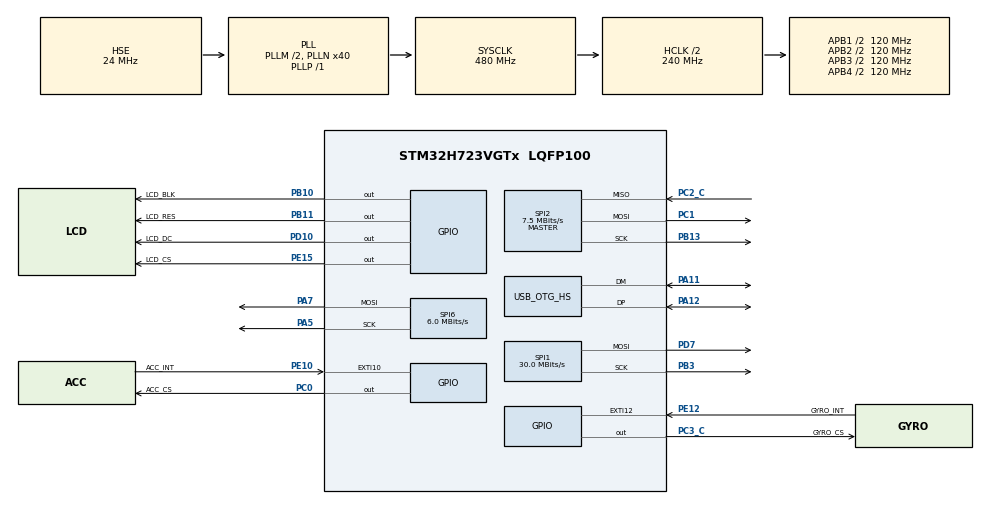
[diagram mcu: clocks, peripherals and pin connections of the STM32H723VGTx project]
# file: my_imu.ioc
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Dma.Request0=SPI2_RX
Dma.Request1=SPI2_TX
Dma.SPI2_RX.0.Direction=DMA_PERIPH_TO_MEMORY
Dma.SPI2_RX.0.EventEnable=DISABLE
Dma.SPI2_RX.0.FIFOMode=DMA_FIFOMODE_DISABLE
Dma.SPI2_RX.0.Instance=DMA1_Stream0
Dma.SPI2_RX.0.MemDataAlignment=DMA_MDATAALIGN_BYTE
Dma.SPI2_RX.0.MemInc=DMA_MINC_ENABLE
Dma.SPI2_RX.0.Mode=DMA_NORMAL
Dma.SPI2_RX.0.PeriphDataAlignment=DMA_PDATAALIGN_BYTE
Dma.SPI2_RX.0.PeriphInc=DMA_PINC_DISABLE
Dma.SPI2_RX.0.Polarity=HAL_DMAMUX_REQ_GEN_RISING
Dma.SPI2_RX.0.Priority=DMA_PRIORITY_VERY_HIGH
Dma.SPI2_RX.0.RequestNumber=1
Dma.SPI2_RX.0.SignalID=NONE
Dma.SPI2_RX.0.SyncEnable=DISABLE
Dma.SPI2_RX.0.SyncPolarity=HAL_DMAMUX_SYNC_NO_EVENT
Dma.SPI2_RX.0.SyncRequestNumber=1
Dma.SPI2_RX.0.SyncSignalID=NONE
Dma.SPI2_TX.1.Direction=DMA_MEMORY_TO_PERIPH
Dma.SPI2_TX.1.EventEnable=DISABLE
Dma.SPI2_TX.1.FIFOMode=DMA_FIFOMODE_DISABLE
Dma.SPI2_TX.1.Instance=DMA1_Stream1
Dma.SPI2_TX.1.MemDataAlignment=DMA_MDATAALIGN_BYTE
Dma.SPI2_TX.1.MemInc=DMA_MINC_ENABLE
Dma.SPI2_TX.1.Mode=DMA_NORMAL
Dma.SPI2_TX.1.PeriphDataAlignment=DMA_PDATAALIGN_BYTE
Dma.SPI2_TX.1.PeriphInc=DMA_PINC_DISABLE
Dma.SPI2_TX.1.Polarity=HAL_DMAMUX_REQ_GEN_RISING
Dma.SPI2_TX.1.Priority=DMA_PRIORITY_HIGH
Dma.SPI2_TX.1.RequestNumber=1
Dma.SPI2_TX.1.SignalID=NONE
Dma.SPI2_TX.1.SyncEnable=DISABLE
Dma.SPI2_TX.1.SyncPolarity=HAL_DMAMUX_SYNC_NO_EVENT
Dma.SPI2_TX.1.SyncRequestNumber=1
Dma.SPI2_TX.1.SyncSignalID=NONE
Mcu.Family=STM32H7
Mcu.Name=STM32H723VGTx
Mcu.Package=LQFP100
NVIC.DMA1_Stream0_IRQn=true\:1\:0\:true\:false\:true\:false\:true\:true
NVIC.DMA1_Stream1_IRQn=true\:2\:0\:true\:false\:true\:false\:true\:true
NVIC.EXTI15_10_IRQn=true\:1\:0\:true\:false\:true\:true\:true\:true\:true
NVIC.OTG_HS_IRQn=true\:0\:0\:false\:false\:true\:false\:true\:true
NVIC.PriorityGroup=NVIC_PRIORITYGROUP_4
NVIC.SPI2_IRQn=true\:5\:0\:true\:false\:true\:false\:true\:true
PA13(JTMS/SWDIO).Mode=Serial_Wire
PA13(JTMS/SWDIO).Signal=DEBUG_JTMS-SWDIO
PA14(JTCK/SWCLK).Mode=Serial_Wire
PA14(JTCK/SWCLK).Signal=DEBUG_JTCK-SWCLK
PA11.Mode=Device_Only_FS
PA11.Signal=USB_OTG_HS_DM
PA12.Mode=Device_Only_FS
PA12.Signal=USB_OTG_HS_DP
PA5.GPIO_Speed=GPIO_SPEED_FREQ_VERY_HIGH
PA5.Mode=TX_Only_Simplex_Unidirect_Master
PA5.Signal=SPI6_SCK
PA7.GPIO_Speed=GPIO_SPEED_FREQ_VERY_HIGH
PA7.Mode=TX_Only_Simplex_Unidirect_Master
PA7.Signal=SPI6_MOSI
PB13.GPIO_Speed=GPIO_SPEED_FREQ_VERY_HIGH
PB13.Mode=Full_Duplex_Master
PB13.Signal=SPI2_SCK
PB10.GPIO_Label=LCD_BLK
PB10.Signal=GPIO_Output
PB11.GPIO_Label=LCD_RES
PB11.Signal=GPIO_Output
PB3(JTDO/TRACESWO).Mode=TX_Only_Simplex_Unidirect_Master
PB3(JTDO/TRACESWO).Signal=SPI1_SCK
PC0.GPIO_Label=ACC_CS
PC0.GPIO_Speed=GPIO_SPEED_FREQ_VERY_HIGH
PC0.PinState=GPIO_PIN_SET
PC0.Signal=GPIO_Output
PC1.GPIO_Speed=GPIO_SPEED_FREQ_VERY_HIGH
PC1.Mode=Full_Duplex_Master
PC1.Signal=SPI2_MOSI
PC2_C.GPIO_Speed=GPIO_SPEED_FREQ_VERY_HIGH
PC2_C.Mode=Full_Duplex_Master
PC2_C.Signal=SPI2_MISO
PC3_C.GPIO_Label=GYRO_CS
PC3_C.GPIO_Speed=GPIO_SPEED_FREQ_VERY_HIGH
PC3_C.PinState=GPIO_PIN_SET
PC3_C.Signal=GPIO_Output
PE10.GPIO_Label=ACC_INT
PE10.Signal=GPXTI10
PE12.GPIO_Label=GYRO_INT
PE12.Signal=GPXTI12
PD10.GPIO_Label=LCD_DC
PD10.Signal=GPIO_Output
PD7.Mode=TX_Only_Simplex_Unidirect_Master
PD7.Signal=SPI1_MOSI
PE15.GPIO_Label=LCD_CS
PE15.Signal=GPIO_Output
PH0-OSC_IN.Mode=HSE-External-Oscillator
PH0-OSC_IN.Signal=RCC_OSC_IN
PH1-OSC_OUT.Mode=HSE-External-Oscillator
PH1-OSC_OUT.Signal=RCC_OSC_OUT
ProjectManager.HeapSize=0x200
ProjectManager.StackSize=0x2000
ProjectManager.TargetToolchain=MDK-ARM V5.27
RCC.ADCFreq_Value=48375000
RCC.APB1Freq_Value=120000000
RCC.APB2Freq_Value=120000000
RCC.APB3Freq_Value=120000000
RCC.APB4Freq_Value=120000000
RCC.CortexFreq_Value=480000000
RCC.D1PPRE=RCC_APB3_DIV2
RCC.D2PPRE1=RCC_APB1_DIV2
RCC.D2PPRE2=RCC_APB2_DIV2
RCC.D3PPRE=RCC_APB4_DIV2
RCC.DIVM1=2
RCC.DIVN1=40
RCC.DIVP1=1
RCC.HCLKFreq_Value=240000000
RCC.HPRE=RCC_HCLK_DIV2
RCC.HSE_VALUE=24000000
RCC.PLL2FRACN=0
RCC.PLL3FRACN=0
RCC.PLLFRACN=0
RCC.PLLSourceVirtual=RCC_PLLSOURCE_HSE
RCC.SPI6CLockSelection=RCC_SPI6CLKSOURCE_HSE
RCC.SYSCLKFreq_VALUE=480000000
RCC.SYSCLKSource=RCC_SYSCLKSOURCE_PLLCLK
RCC.USBCLockSelection=RCC_USBCLKSOURCE_HSI48
RCC.USBFreq_Value=48000000
SPI1.BaudRatePrescaler=SPI_BAUDRATEPRESCALER_8
SPI1.CLKPolarity=SPI_POLARITY_HIGH
SPI1.CalculateBaudRate=30.0 MBits/s
SPI1.DataSize=SPI_DATASIZE_8BIT
SPI1.Direction=SPI_DIRECTION_2LINES_TXONLY
SPI1.Mode=SPI_MODE_MASTER
SPI1.VirtualType=VM_MASTER
SPI2.BaudRatePrescaler=SPI_BAUDRATEPRESCALER_32
SPI2.CLKPhase=SPI_PHASE_2EDGE
SPI2.CLKPolarity=SPI_POLARITY_HIGH
SPI2.CalculateBaudRate=7.5 MBits/s
SPI2.DataSize=SPI_DATASIZE_8BIT
SPI2.Direction=SPI_DIRECTION_2LINES
SPI2.Mode=SPI_MODE_MASTER
SPI2.VirtualType=VM_MASTER
SPI6.BaudRatePrescaler=SPI_BAUDRATEPRESCALER_4
SPI6.CLKPhase=SPI_PHASE_2EDGE
SPI6.CLKPolarity=SPI_POLARITY_LOW
SPI6.CalculateBaudRate=6.0 MBits/s
SPI6.DataSize=SPI_DATASIZE_8BIT
SPI6.Direction=SPI_DIRECTION_2LINES_TXONLY
SPI6.Mode=SPI_MODE_MASTER
SPI6.VirtualType=VM_MASTER
USB_DEVICE.CLASS_NAME_HS=CDC
USB_DEVICE.VirtualMode=Cdc
USB_DEVICE.VirtualModeHS=Cdc_HS
USB_OTG_HS.VirtualMode-Device_Only_FS=Device_Only_FS
VP_USB_DEVICE_VS_USB_DEVICE_CDC_HS.Mode=CDC_HS
board=custom

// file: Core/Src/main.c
/* USER CODE BEGIN Header */
/**
  ******************************************************************************
  * @file           : main.c
  * @brief          : Main program body
  ******************************************************************************
  * @attention
  *
  * Copyright (c) 2024 STMicroelectronics.
  * All rights reserved.
  *
  * This software is licensed under terms that can be found in the LICENSE file
  * in the root directory of this software component.
  * If no LICENSE file comes with this software, it is provided AS-IS.
  *
  ******************************************************************************
  */
/* USER CODE END Header */
#include "main.h"
#include "gpio.h"
#include "spi.h"

/* USER CODE BEGIN Includes */
#include "BMI088driver.h"
#include "accel_display.h"
#include "usb_bsp.h"
#include "ws2812.h"
/* USER CODE END Includes */

/* USER CODE BEGIN PM */
/*
 * TIM2 以 1600 Hz 触发加速度采样，单次周期为 625 us。
 * 该频率与 BMI088 当前配置的 ODR 一致，避免采样快于传感器更新。
 */
#define IMU_OUTPUT_RATE_HZ   1600U
#define IMU_PERIOD_US        (1000000U / IMU_OUTPUT_RATE_HZ)

/*
 * 环形缓冲区保存尚未被主循环消费的原始加速度计数。
 * 256 个槽位约等于 160 ms 的缓存，主循环短暂阻塞时可吸收抖动。
 * 通过 2 的幂掩码代替取模，降低 ISR 中的计算开销。
 */
#define IMU_RING_SIZE        256U
#define IMU_RING_MASK        (IMU_RING_SIZE - 1U)

/*
 * TIM2 内核时钟为 240 MHz，因此 1 个 tick 正好为 1 us。
 * 625 us 周期对应 PSC=239、ARR=624。
 */
#define TIM2_CLOCK_HZ        240000000U
#define TIM2_TICKS_PER_US    (TIM2_CLOCK_HZ / 1000000U)

/* WS2812 每 500 ms 翻转一次，LCD 保持 10 Hz 刷新。 */
#define LED_HEARTBEAT_MS     500U
#define LED_BRIGHTNESS       16U
#define LCD_REFRESH_MS       100U
/* USER CODE END PM */

/* USER CODE BEGIN PV */
/*
 * 生产者是 TIM2 ISR，消费者是主循环。
 * ISR 只写 imu_ring_head，主循环只写 imu_ring_tail；行数据的可见性由 __DMB()
 * 保证。volatile 防止编译器把跨中断访问的变量缓存到寄存器。
 */
static volatile int16_t imu_accel_raw[IMU_RING_SIZE][3];
static volatile uint16_t imu_ring_head;
static volatile uint16_t imu_ring_tail;
/* USER CODE END PV */

void SystemClock_Config(void);

/* USER CODE BEGIN 0 */
static void IMU_SampleTimer_Init(void)
{
  /*
   * 直接配置 TIM2 寄存器而不走 HAL_TIM 初始化，减少初始化层级。
   * 先停止计时器并清空计数值，再配置预分频、自动重装值和更新中断。
   */
  __HAL_RCC_TIM2_CLK_ENABLE();
  TIM2->CR1 = 0U;
  TIM2->PSC = TIM2_TICKS_PER_US - 1U;
  TIM2->ARR = IMU_PERIOD_US - 1U;
  TIM2->EGR = TIM_EGR_UG;
  TIM2->CNT = 0U;
  TIM2->SR = 0U;
  TIM2->DIER = TIM_DIER_UIE;
  HAL_NVIC_SetPriority(TIM2_IRQn, 1U, 0U);
  HAL_NVIC_EnableIRQ(TIM2_IRQn);
  TIM2->CR1 = TIM_CR1_CEN;
}

void IMU_TimerSampleISR(void)
{
  int16_t accel_raw[3];
  uint16_t next_head = (imu_ring_head + 1U) & IMU_RING_MASK;

  /*
   * 保持一个空槽用于区分“空”和“满”：
   * next_head == tail 时缓冲区已满，本次样本直接丢弃，避免覆盖未消费数据。
   */
  if (next_head == imu_ring_tail)
  {
    return;
  }

  /*
   * 这里执行一次 6 字节 BMI088 SPI 读取。SPI2 的配置应保证该阻塞时间远小于
   * 625 us 周期；若以后提高 SPI 分频或增加传感器读取，必须重新评估 ISR 时长。
   */
  BMI088_read_acceleration(accel_raw);
  imu_accel_raw[imu_ring_head][0] = accel_raw[0];
  imu_accel_raw[imu_ring_head][1] = accel_raw[1];
  imu_accel_raw[imu_ring_head][2] = accel_raw[2];

  /* 确保三轴数据写入完成后，主循环才可能看到新的 head。 */
  __DMB();
  imu_ring_head = next_head;
}
/* USER CODE END 0 */

int main(void)
{

  /* MCU Configuration--------------------------------------------------------*/

  /* Reset of all peripherals, Initializes the Flash interface and the Systick. */
  HAL_Init();

  /* Configure the system clock */
  SystemClock_Config();

  /* Initialize all configured peripherals */
  MX_GPIO_Init();
  /* USER CODE BEGIN 2 */
    /*
     * LCD 必须优先于 IMU、USB 和采样定时器启动。
     * 该顺序已在当前硬件上通过多次断电重启验证；提前启动 IMU 或 USB
     * 会提高 ST7789 偶发黑屏概率。
     */
    MX_SPI1_Init();
    AccelDisplay_Init();

    /* LCD 稳定后再初始化 WS2812 和 BMI088。 */
    MX_SPI6_Init();
    MX_SPI2_Init();

    if (bmi088_accel_init() != BMI088_NO_ERROR)
    {
        /* 初始化失败时用红灯常亮提示，并停止后续数据采集。 */
        WS2812_Ctrl(LED_BRIGHTNESS, 0U, 0U);
        Error_Handler();
    }

    /*
     * USB 仅作为数据观测通道；LCD 和 IMU 不依赖 USB 是否连接。
     * USB 初始化后再等待主机完成枚举。
     */
    USB_BSP_Init();
    HAL_Delay(300U);
    WS2812_Ctrl(0U, LED_BRIGHTNESS, 0U);

    /* 最后才启动高频采样中断，避免初始化 LCD 时被 IMU ISR 抢占。 */
    IMU_SampleTimer_Init();
  /* USER CODE END 2 */

  /* Infinite loop */
  /* USER CODE BEGIN WHILE */
  uint32_t led_tick = HAL_GetTick();
  uint32_t lcd_tick = HAL_GetTick();
  uint8_t led_on = 1U;
  while (1)
  {
    /* USER CODE END WHILE */

    /* USER CODE BEGIN 3 */
        /*
         * 主循环负责消费环形缓冲。原始计数先换算成 m/s^2，再分别送入
         * 振动统计和 USB 输出。即使 USB 忙，LCD 的振动统计仍会继续更新。
         */
        while (imu_ring_tail != imu_ring_head)
        {
            uint16_t tail = imu_ring_tail;
            int16_t accel_raw[3];
            float accel_mps2[3];

            accel_raw[0] = imu_accel_raw[tail][0];
            accel_raw[1] = imu_accel_raw[tail][1];
            accel_raw[2] = imu_accel_raw[tail][2];

            /* 与生产者相同的 DMA 屏障，保证先读数据再释放槽位。 */
            __DMB();
            imu_ring_tail = (tail + 1U) & IMU_RING_MASK;

            /* BMI088 6G 量程灵敏度换算，单位 m/s^2。 */
            accel_mps2[0] = accel_raw[0] * BMI088_ACCEL_6G_SEN;
            accel_mps2[1] = accel_raw[1] * BMI088_ACCEL_6G_SEN;
            accel_mps2[2] = accel_raw[2] * BMI088_ACCEL_6G_SEN;

            /* 振动统计在 160 个样本后锁存一次结果，不依赖 LCD 刷新时刻。 */
            AccelDisplay_ProcessSample(accel_mps2);

            /* USB 是尽力发送；主机未连接或发送端点忙时不会阻塞采样链路。 */
            USB_BSP_SendAcceleration(accel_mps2);
        }

        /* 1 Hz 绿色心跳用于确认主循环仍在运行。 */
        if ((HAL_GetTick() - led_tick) >= LED_HEARTBEAT_MS)
        {
            led_tick = HAL_GetTick();
            led_on ^= 1U;
            WS2812_Ctrl(0U, led_on ? LED_BRIGHTNESS : 0U, 0U);
        }

        /*
         * 控制台每 100 ms 刷新一次。测量窗口由样本数固定，LCD 刷新变慢
         * 只会影响显示延迟，不会改变 RMS 的 100 ms 时间口径。
         */
        if ((HAL_GetTick() - lcd_tick) >= LCD_REFRESH_MS)
        {
            lcd_tick = HAL_GetTick();
            AccelDisplay_Update();
        }

  }
  /* USER CODE END 3 */
}

void SystemClock_Config(void)
{
  RCC_OscInitTypeDef RCC_OscInitStruct = {0};
  RCC_ClkInitTypeDef RCC_ClkInitStruct = {0};

  /** Supply configuration update enable
  */
  HAL_PWREx_ConfigSupply(PWR_LDO_SUPPLY);

  /** Configure the main internal regulator output voltage
  */
  __HAL_PWR_VOLTAGESCALING_CONFIG(PWR_REGULATOR_VOLTAGE_SCALE0);

  while(!__HAL_PWR_GET_FLAG(PWR_FLAG_VOSRDY)) {}

  /** Initializes the RCC Oscillators according to the specified parameters
  * in the RCC_OscInitTypeDef structure.
  */
  RCC_OscInitStruct.OscillatorType = RCC_OSCILLATORTYPE_HSI48 | RCC_OSCILLATORTYPE_HSE;
  RCC_OscInitStruct.HSEState = RCC_HSE_ON;
  RCC_OscInitStruct.HSI48State = RCC_HSI48_ON;
  RCC_OscInitStruct.PLL.PLLState = RCC_PLL_ON;
  RCC_OscInitStruct.PLL.PLLSource = RCC_PLLSOURCE_HSE;
  RCC_OscInitStruct.PLL.PLLM = 2;
  RCC_OscInitStruct.PLL.PLLN = 40;
  RCC_OscInitStruct.PLL.PLLP = 1;
  RCC_OscInitStruct.PLL.PLLQ = 4;
  RCC_OscInitStruct.PLL.PLLR = 2;
  RCC_OscInitStruct.PLL.PLLRGE = RCC_PLL1VCIRANGE_3;
  RCC_OscInitStruct.PLL.PLLVCOSEL = RCC_PLL1VCOWIDE;
  RCC_OscInitStruct.PLL.PLLFRACN = 0;
  if (HAL_RCC_OscConfig(&RCC_OscInitStruct) != HAL_OK)
  {
    Error_Handler();
  }

  /** Initializes the CPU, AHB and APB buses clocks
  */
  RCC_ClkInitStruct.ClockType = RCC_CLOCKTYPE_HCLK|RCC_CLOCKTYPE_SYSCLK
                              |RCC_CLOCKTYPE_PCLK1|RCC_CLOCKTYPE_PCLK2
                              |RCC_CLOCKTYPE_D3PCLK1|RCC_CLOCKTYPE_D1PCLK1;
  RCC_ClkInitStruct.SYSCLKSource = RCC_SYSCLKSOURCE_PLLCLK;
  RCC_ClkInitStruct.SYSCLKDivider = RCC_SYSCLK_DIV1;
  RCC_ClkInitStruct.AHBCLKDivider = RCC_HCLK_DIV2;
  RCC_ClkInitStruct.APB3CLKDivider = RCC_APB3_DIV2;
  RCC_ClkInitStruct.APB1CLKDivider = RCC_APB1_DIV2;
  RCC_ClkInitStruct.APB2CLKDivider = RCC_APB2_DIV2;
  RCC_ClkInitStruct.APB4CLKDivider = RCC_APB4_DIV2;

  if (HAL_RCC_ClockConfig(&RCC_ClkInitStruct, FLASH_LATENCY_3) != HAL_OK)
  {
    Error_Handler();
  }
}

void Error_Handler(void)
{
  /* USER CODE BEGIN Error_Handler_Debug */
  /*
   * 当前调试版本在不可恢复错误时关闭中断并停在死循环，便于 SWD 捕获现场。
   * 量产版本如果需要自动恢复，应增加看门狗和按错误类型区分的重启策略。
   */
  __disable_irq();
  while (1)
  {
  }
  /* USER CODE END Error_Handler_Debug */
}
